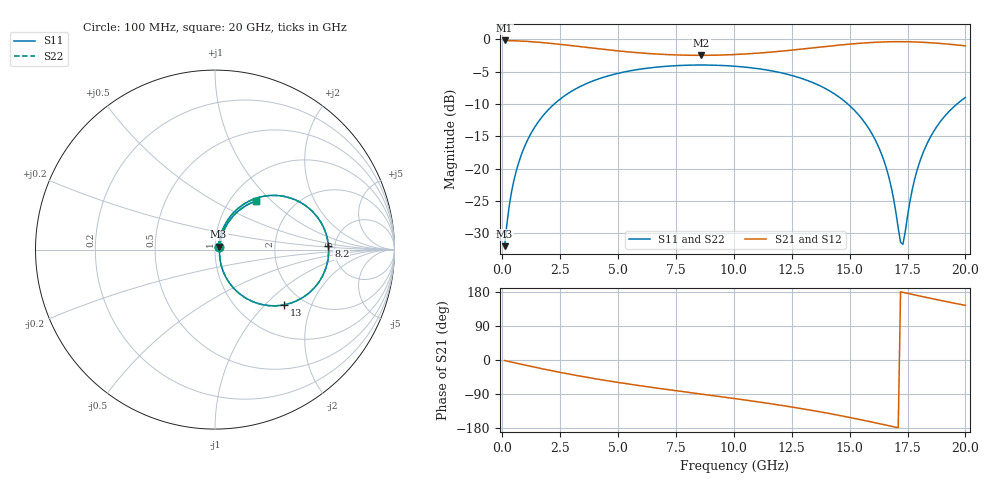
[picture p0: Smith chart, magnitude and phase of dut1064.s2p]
! Touchstone file exported from HFSS 2026.1.0
!  File:  C:/ffzhzh/LocalFiles/Ansys_Project_Files/temp_train_TSV_RDL_1064_1783298442_30076.aedt
!  Generated:  08:51:34 AM Jul  6, 2026
!  Design:  TSV_RDL
!  Project:  temp_train_TSV_RDL_1064_1783298442_30076
! Variables:
!  h_bsmrdl = 2.4um
!  h_ox = 20um
!  h_rdl = 5um
!  h_sub = 60.53um
!  h_tmrdl = 4.5um
!  h_tsv = 60.53um
!  h_via = 3um
!  l_bsmrdl = 442.82um
!  l_sub = 3734.19um
!  l_tmrdl = 469.34um
!  m_sub = 200um
!  pitch = 59.2um
!  r_tsv = 4.95um
!  s_tmrdl = 10um
!  w_bsmrdl = 18.73um
!  w_sub = 500um
!  w_tmrdl = 24.06um
!  x_tsv_center1 = 481.37um
!  x_tsv_center2 = 942.92um
!  x_tsv_center3 = 1436.32um
!  x_tsv_center4 = 1897.87um
!  x_tsv_center5 = 2391.27um
!  x_tsv_center6 = 2852.82um
# GHz S MA R 50.000000
! Terminal data exported
! Port[1] = TM_RDL1_1_T1
! Port[2] = TM_RDL5_1_T1
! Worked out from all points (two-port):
!   200 points, 100 MHz to 20 GHz, reference 50 ohm
!   highest |S21| = -0.17 dB at 100 MHz (marker M1); lowest = -2.5 dB at 8.6 GHz (marker M2)
!   |S21| within 3 dB of the highest: start of sweep to end of sweep
!   lowest |S11| = -32.0 dB at 100 MHz (marker M3), VSWR 1.05, Z = 52 + j1.64 ohm
!   |S11| at or under -10 dB: start of sweep to 2.243 GHz; 14.92 GHz to 19.64 GHz (4.712 GHz wide, 27.3 % of centre)
!   |S22| runs from -32.0 to -4.0 dB; largest |S21 - S12| = 1.7e-14
!   S11 on the Smith chart (normalised r, x): 100 MHz: 1.04, +0.03; 8.2 GHz: 4.42, +0.31; 13 GHz: 1.61, -1.31; 20 GHz: 1.31, +0.81
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0.1  0.02517 38.8  0.9807 -1.4  0.9807 -1.4  0.02517 38.8
! Gamma 0 0 0 0
! Port Impedance 50 0 50 0
0.3  0.05162 63.0  0.9785 -4.2  0.9785 -4.2  0.05162 63.0
0.5  0.08096 68.1  0.9757 -6.9  0.9757 -6.9  0.08095 68.1
1.1  0.1678 67.3  0.9636 -15.0  0.9636 -15.0  0.1678 67.3
2.1  0.2993 57.7  0.9308 -27.8  0.9308 -27.8  0.2993 57.7
3.5  0.4437 42.9  0.8722 -44.0  0.8722 -44.0  0.4437 42.9
6.8  0.6131 13.1  0.7677 -75.2  0.7677 -75.2  0.6132 13.1
8.2  0.6324 1.9  0.7531 -86.7  0.7531 -86.7  0.6324 1.9
8.6  0.6333 -1.2  0.7525 -90.0  0.7525 -90.0  0.6333 -1.2
10.1  0.6185 -13.1  0.7642 -102.3  0.7642 -102.3  0.6185 -13.1
13  0.4938 -38.5  0.8434 -129.1  0.8434 -129.1  0.4938 -38.5
13.4  0.4639 -42.4  0.8586 -133.2  0.8586 -133.2  0.464 -42.4
14.6  0.3522 -54.6  0.9047 -146.8  0.9047 -146.8  0.3522 -54.6
15.5  0.2467 -63.6  0.9346 -157.8  0.9346 -157.8  0.2468 -63.7
16.2  0.1542 -68.9  0.9511 -166.9  0.9511 -166.9  0.1542 -68.9
16.7  0.08528 -67.5  0.9578 -173.5  0.9578 -173.5  0.08529 -67.6
17.2  0.02696 -20.9  0.9596 179.9  0.9596 179.9  0.0269 -21.0
17.3  0.02601 9.6  0.9593 178.5  0.9593 178.5  0.02593 9.5
17.7  0.06829 60.2  0.9564 173.2  0.9564 173.2  0.06823 60.3
18.2  0.1365 64.9  0.9484 166.6  0.9484 166.6  0.1364 64.9
19  0.2413 59.6  0.9272 156.3  0.9272 156.3  0.2413 59.6
20  0.3553 49.7  0.8911 144.2  0.8911 144.2  0.3553 49.7
